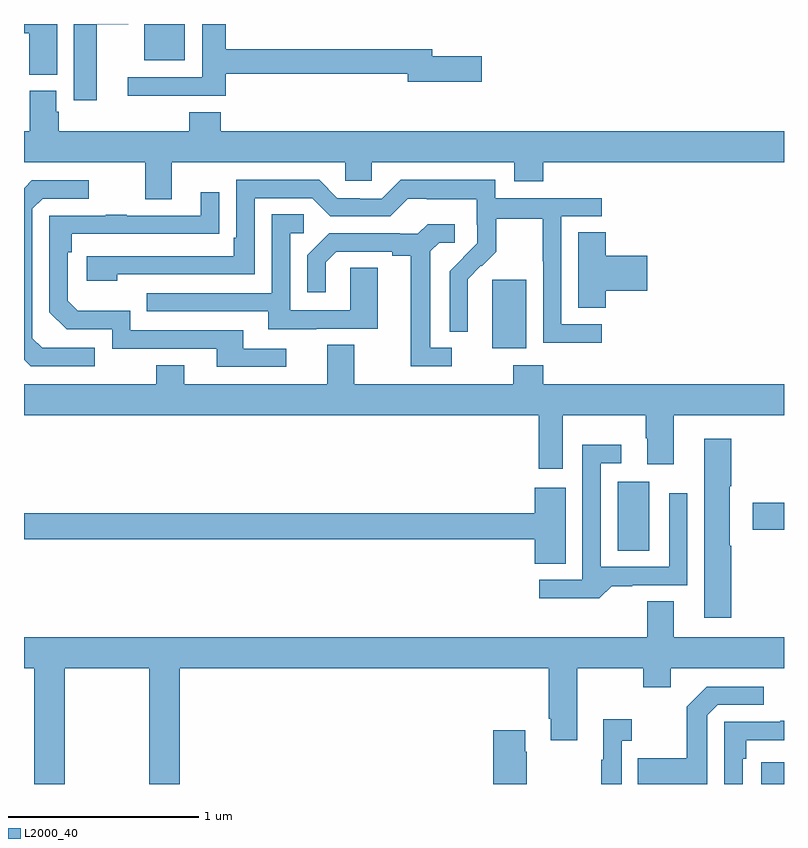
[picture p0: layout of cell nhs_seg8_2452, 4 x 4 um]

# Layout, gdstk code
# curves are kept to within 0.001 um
import gdstk
lib = gdstk.Library(unit=1e-6, precision=1e-09)
def R(c, l, rs):  # rectangles x0, y0, x1, y1
    for r in rs: c.add(gdstk.rectangle(r[:2], r[2:], *l))
def P(c, l, *ps):  # polygons
    for p in ps: c.add(gdstk.Polygon(p, *l))
L2000_40 = (2000, 40)

nhs_seg8_2452 = lib.new_cell('nhs_seg8_2452')
R(nhs_seg8_2452, L2000_40, [(268.881,1107.9,269,1108.014), (268.124,1109.128,268.291,1109.491), (268.836,1109.237,269,1109.379), (267.464,1110.194,267.643,1110.555), (265.634,1111.709,265.846,1111.9)])
P(nhs_seg8_2452, L2000_40, [(265.384,1111.898),(265.549,1111.898),(265.549,1111.9),(265.262,1111.9),(265.262,1111.5),(265.384,1111.5)],
  [(266.063,1111.638),(267.02,1111.638),(267.02,1111.595),(267.409,1111.595),(267.409,1111.73),(267.148,1111.73),(267.148,1111.766),(266.063,1111.766),(266.063,1111.9),(265.937,1111.9),(265.937,1111.62),(265.545,1111.62),(265.545,1111.523),(266.063,1111.523)],
  [(265.174,1111.9),(265,1111.9),(265,1111.852),(265.028,1111.852),(265.028,1111.633),(265.174,1111.633)],
  [(265.184,1111.437),(265.171,1111.437),(265.171,1111.548),(265.031,1111.548),(265.031,1111.336),(265,1111.336),(265,1111.172),(265.637,1111.172),(265.637,1110.978),(265.777,1110.978),(265.777,1111.172),(266.691,1111.172),(266.691,1111.074),(266.829,1111.074),(266.829,1111.172),(267.581,1111.172),(267.581,1111.073),(267.734,1111.073),(267.734,1111.172),(269,1111.172),(269,1111.336),(266.036,1111.336),(266.036,1111.435),(265.871,1111.435),(265.871,1111.336),(265.184,1111.336)],
  [(268.042,1110.321),(267.828,1110.321),(267.828,1110.888),(268.042,1110.888),(268.042,1110.984),(267.48,1110.984),(267.48,1111.081),(266.983,1111.081),(266.883,1110.981),(266.768,1110.981),(266.768,1110.984),(266.649,1110.984),(266.553,1111.08),(266.118,1111.08),(266.118,1110.775),(266.105,1110.775),(266.105,1110.678),(265.329,1110.678),(265.329,1110.548),(265.49,1110.548),(265.49,1110.582),(266.214,1110.582),(266.214,1110.984),(266.517,1110.984),(266.613,1110.888),(266.928,1110.888),(267.021,1110.981),(267.121,1110.981),(267.121,1110.977),(267.384,1110.977),(267.384,1110.843),(267.386,1110.843),(267.386,1110.746),(267.24,1110.598),(267.24,1110.28),(267.336,1110.28),(267.335,1110.557),(267.405,1110.627),(267.408,1110.624),(267.485,1110.701),(267.485,1110.876),(267.73,1110.876),(267.73,1110.652),(267.732,1110.652),(267.732,1110.223),(268.042,1110.223)],
  [(265.372,1110.195),(265.095,1110.195),(265.044,1110.246),(265.044,1110.927),(265.098,1110.981),(265.342,1110.981),(265.342,1111.077),(265.041,1111.077),(265,1111.036),(265,1110.134),(265.035,1110.099),(265.372,1110.099)],
  [(266.38,1110.192),(266.155,1110.192),(266.155,1110.288),(265.56,1110.288),(265.56,1110.391),(265.283,1110.391),(265.23,1110.444),(265.23,1110.698),(265.25,1110.698),(265.25,1110.795),(266.027,1110.796),(266.027,1111.015),(265.931,1111.015),(265.931,1110.891),(265.541,1110.891),(265.541,1110.896),(265.429,1110.896),(265.429,1110.891),(265.134,1110.891),(265.134,1110.384),(265.224,1110.294),(265.464,1110.294),(265.464,1110.192),(266.015,1110.192),(266.015,1110.096),(266.38,1110.096)],
  [(266.539,1110.297),(266.863,1110.297),(266.863,1110.617),(266.718,1110.617),(266.718,1110.393),(266.4,1110.393),(266.4,1110.798),(266.473,1110.798),(266.473,1110.899),(266.304,1110.899),(266.304,1110.483),(265.645,1110.483),(265.645,1110.387),(266.285,1110.387),(266.285,1110.293),(266.539,1110.293)],
  [(267.25,1110.195),(267.139,1110.195),(267.139,1110.703),(267.186,1110.75),(267.268,1110.75),(267.268,1110.847),(267.124,1110.847),(267.072,1110.795),(266.978,1110.795),(266.978,1110.798),(266.606,1110.798),(266.49,1110.682),(266.49,1110.489),(266.587,1110.489),(266.587,1110.645),(266.644,1110.702),(266.939,1110.702),(266.939,1110.68),(267.035,1110.68),(267.035,1110.099),(267.25,1110.099)],
  [(268.061,1110.497),(268.279,1110.497),(268.279,1110.68),(268.061,1110.68),(268.061,1110.803),(267.917,1110.803),(267.917,1110.406),(268.061,1110.406)],
  [(267.835,1109.84),(268.273,1109.84),(268.273,1109.72),(268.28,1109.72),(268.28,1109.583),(268.42,1109.583),(268.42,1109.84),(269,1109.84),(269,1110.004),(267.734,1110.004),(267.734,1110.103),(267.574,1110.103),(267.574,1110.004),(266.737,1110.004),(266.737,1110.212),(266.597,1110.212),(266.597,1110.004),(265.843,1110.004),(265.843,1110.103),(265.696,1110.103),(265.696,1110.004),(265,1110.004),(265,1109.84),(267.71,1109.84),(267.71,1109.559),(267.835,1109.559)],
  [(268.722,1109.153),(268.714,1109.153),(268.714,1109.467),(268.722,1109.467),(268.722,1109.716),(268.58,1109.716),(268.58,1108.776),(268.722,1108.776)],
  [(268.093,1108.942),(268.201,1108.942),(268.201,1108.947),(268.491,1108.947),(268.491,1109.431),(268.395,1109.431),(268.395,1109.043),(268.035,1109.043),(268.035,1109.589),(268.144,1109.589),(268.144,1109.686),(267.939,1109.686),(267.939,1108.974),(267.711,1108.974),(267.711,1108.877),(268.028,1108.877)],
  [(267.85,1109.458),(267.689,1109.458),(267.689,1109.324),(265,1109.324),(265,1109.188),(267.689,1109.188),(267.689,1109.059),(267.85,1109.059)],
  [(265.215,1108.508),(265.66,1108.508),(265.66,1107.9),(265.82,1107.9),(265.82,1108.508),(267.761,1108.508),(267.761,1108.243),(267.773,1108.243),(267.773,1108.131),(267.913,1108.131),(267.913,1108.508),(268.258,1108.508),(268.258,1108.409),(268.405,1108.409),(268.405,1108.508),(269,1108.508),(269,1108.672),(268.42,1108.672),(268.42,1108.862),(268.28,1108.862),(268.28,1108.672),(265,1108.672),(265,1108.508),(265.055,1108.508),(265.055,1107.9),(265.215,1107.9)],
  [(268.596,1108.263),(268.65,1108.317),(268.894,1108.317),(268.894,1108.413),(268.593,1108.413),(268.488,1108.307),(268.488,1108.035),(268.231,1108.035),(268.231,1107.9),(268.596,1107.9)],
  [(268.146,1108.127),(268.198,1108.127),(268.198,1108.24),(268.049,1108.24),(268.049,1108.027),(268.038,1108.027),(268.038,1107.9),(268.146,1107.9)],
  [(268.782,1108.034),(268.802,1108.034),(268.802,1108.131),(269,1108.131),(269,1108.232),(268.981,1108.232),(268.981,1108.227),(268.686,1108.227),(268.686,1107.9),(268.782,1107.9)],
  [(267.645,1108.07),(267.637,1108.07),(267.637,1108.183),(267.47,1108.183),(267.47,1107.9),(267.645,1107.9)])

lib.write_gds('nhs_seg8_2452.gds')
